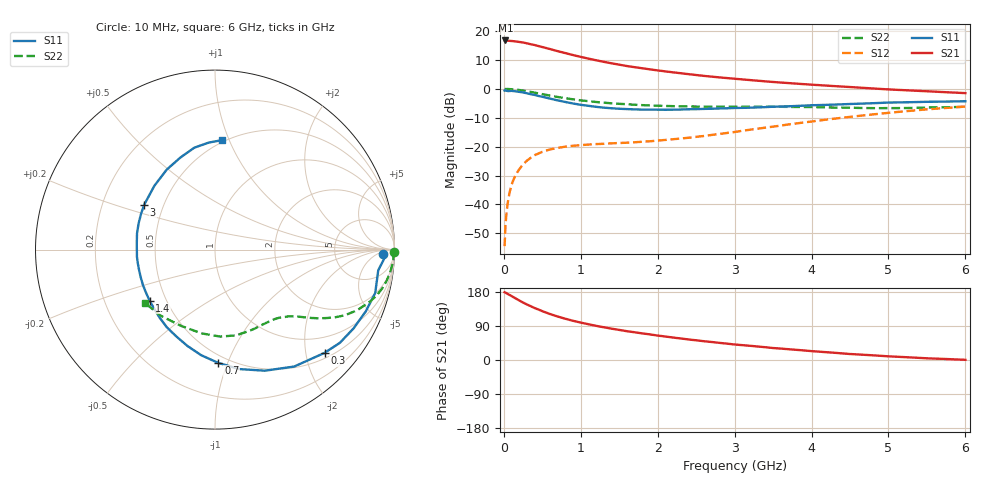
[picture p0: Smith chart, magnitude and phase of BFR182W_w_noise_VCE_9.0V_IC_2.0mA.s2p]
! Infineon Technologies  Discrete & RF Semiconductors
! BFR182W
! VCE =  9.0 V,  IC =  2.0 mA
! Common Emitter S-Parameters:  Jan 2017
# GHz  S  MA  R  50
!  f  S11  S21  S12  S22
! GHz  MAG  ANG  MAG  ANG  MAG  ANG  MAG  ANG
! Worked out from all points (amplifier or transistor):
!   77 points, 10 MHz to 6 GHz, reference 50 ohm
!   highest |S21| = 16.8 dB at 20 MHz (marker M1)
!   |S21| within 3 dB of that: start of sweep to 604 MHz
!   unconditionally stable (mu >= 1): 1.775 GHz to 3.121 GHz
!   at 130 MHz: K = 0.08, MSG = 23.8 dB, |S12| = -31.2 dB
!   at 2.2 GHz: K = 1.08, MAG = 9.8 dB, |S12| = -17.4 dB
!   at 6 GHz: K = 0.81, MSG = 2.3 dB, |S12| = -6.1 dB
!   lowest NFmin = 0.85 dB at 450 MHz
!   S11 on the Smith chart (normalised r, x): 10 MHz: 25, -10; 300 MHz: 0.61, -2.38; 700 MHz: 0.44, -0.93; 1.4 GHz: 0.40, -0.29; 3 GHz: 0.39, +0.25; 6 GHz: 0.48, +0.94
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0.01  0.9347 -1.6  6.824 178.8  0.0019 85.6  1 -0.7
0.02  0.9445 -3.0  6.88 177.9  0.004 96.1  0.9937 -1.5
0.05  0.9166 -7.3  6.821 174.4  0.0104 83.4  0.9956 -3.4
0.1  0.9249 -15.1  6.738 168.7  0.0217 82.3  0.9858 -6.8
0.2  0.8882 -29.6  6.485 157.1  0.0406 73.6  0.9564 -13.1
0.25  0.8684 -36.7  6.347 151.6  0.0495 69.1  0.9356 -15.9
0.3  0.8389 -43.3  6.137 146.5  0.0573 65.8  0.91 -18.6
0.4  0.7868 -55.9  5.74 137.1  0.0713 59.6  0.8613 -23.1
0.5  0.7298 -67.6  5.293 128.9  0.0813 54.8  0.8111 -26.8
0.6  0.6796 -78.4  4.887 121.3  0.0897 50.7  0.7653 -29.6
0.7  0.6317 -88.3  4.49 114.7  0.095 47.5  0.7243 -31.8
0.9  0.5582 -106.0  3.845 103.4  0.1037 43.3  0.6592 -35.3
1.1  0.5092 -121.8  3.338 94.4  0.1088 41.7  0.6127 -37.8
1.4  0.4621 -142.1  2.769 82.7  0.1143 42.0  0.5626 -41.4
1.7  0.4418 -159.5  2.371 73.2  0.1192 44.3  0.5316 -45.1
2.1  0.4353 -179.4  2.007 62.0  0.1309 49.2  0.5066 -50.8
2.6  0.4501 160.9  1.678 49.6  0.1532 55.7  0.4932 -59.5
3  0.4671 147.6  1.497 40.9  0.1796 59.0  0.4915 -66.5
3.1  0.4694 144.7  1.458 39.2  0.1881 59.4  0.4906 -68.4
4.1  0.5247 118.9  1.16 22.0  0.2834 58.5  0.4811 -89.0
5.1  0.5822 99.7  0.964 8.7  0.3963 50.0  0.4647 -117.1
6  0.6113 86.2  0.844 0.5  0.4948 39.4  0.4913 -142.9
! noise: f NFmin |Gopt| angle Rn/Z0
0.45  0.85  0.5  30  0.26
0.9  0.99  0.4  58  0.24
1.9  1.74  0.3  142  0.14
2.4  2.11  0.26  164  0.19
